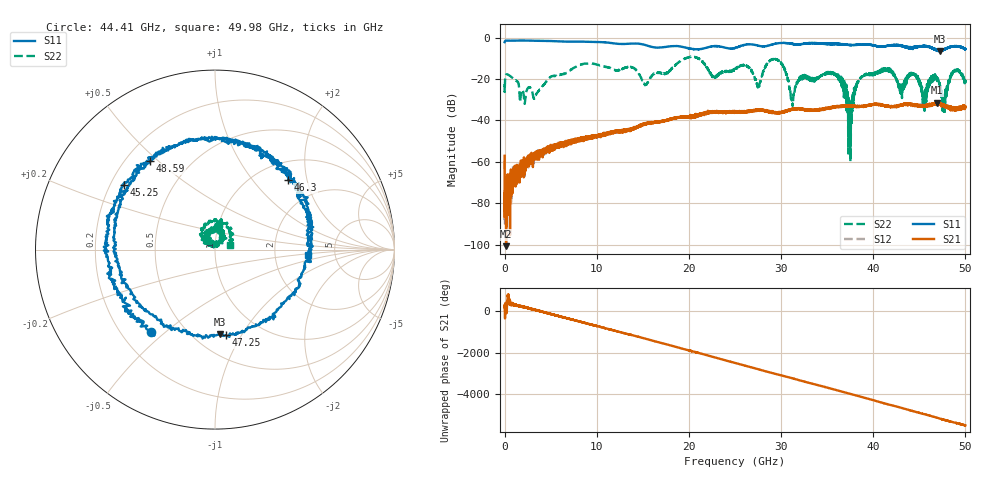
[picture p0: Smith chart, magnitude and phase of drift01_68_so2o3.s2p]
!Created with skrf (http://scikit-rf.org).
# Hz S RI R 50.0
!freq ReS11 ImS11 ReS21 ImS21 ReS12 ImS12 ReS22 ImS22
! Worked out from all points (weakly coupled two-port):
!   10001 points, 300 kHz to 50 GHz, reference 50 ohm
!   highest |S21| = -31.41 dB at 46.91 GHz (marker M1); lowest = -100.8 dB at 160.3 MHz (marker M2)
!   lowest |S11| = -6.6 dB at 47.28 GHz (marker M3), VSWR 2.78, Z = 33.5 - j40.4 ohm
!   |S11| at or under -10 dB: nowhere
!   |S22| runs from -60.0 to -9.2 dB; largest |S21 - S12| = 0.0038
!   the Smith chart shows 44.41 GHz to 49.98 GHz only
!   S11 on the Smith chart (normalised r, x): 44.41 GHz: 0.32, -0.45; 45.25 GHz: 0.26, +0.30; 46.3 GHz: 1.37, +1.55; 47.25 GHz: 0.69, -0.86; 48.59 GHz: 0.30, +0.47; 49.98 GHz: 3.13, -0.25
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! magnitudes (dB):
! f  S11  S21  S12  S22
! 300 kHz  -2.2  -57.1  -59.5  -22.5
! 160.3 MHz  -1.5  -100.8  -79.4  -17.8
! 3.29 GHz  -1.5  -57.6  -56.9  -28.8
! 8.335 GHz  -1.9  -49.5  -49.1  -12.9
! 16.67 GHz  -4.8  -40.7  -40.8  -16.7
! 25 GHz  -5.0  -35.8  -36.0  -15.4
! 29.58 GHz  -2.8  -36.3  -36.2  -10.7
! 31.23 GHz  -3.0  -34.9  -34.6  -32.4
! 33.34 GHz  -2.6  -35.2  -35.0  -20.1
! 36.15 GHz  -3.1  -33.4  -33.3  -18.7
! 37.47 GHz  -3.6  -33.3  -33.0  -33.1
! 38.65 GHz  -3.3  -33.2  -33.4  -19.5
! 41.67 GHz  -3.9  -33.3  -33.3  -16.4
! 44.41 GHz  -4.7  -32.2  -32.6  -17.7
! 45.25 GHz  -4.1  -33.2  -32.9  -23.4
! 46.3 GHz  -5.0  -32.1  -32.4  -18.8
! 46.91 GHz  -6.1  -31.4  -32.0  -19.7
! 47.25 GHz  -6.4  -32.4  -32.3  -23.8
! 47.28 GHz  -6.6  -32.4  -32.4  -23.9
! 48.59 GHz  -4.3  -34.2  -34.0  -17.6
! 49.98 GHz  -5.7  -33.6  -33.6  -21.1
! 50 GHz  -5.5  -33.4  -33.6  -21.2
